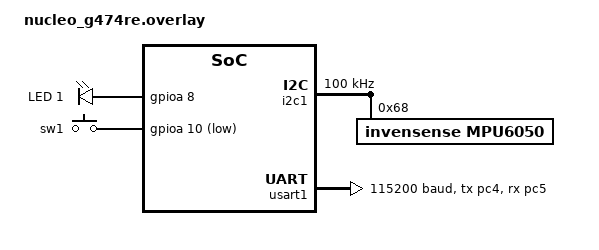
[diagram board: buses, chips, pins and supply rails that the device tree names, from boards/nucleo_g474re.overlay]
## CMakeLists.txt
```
cmake_minimum_required(VERSION 3.20.0)

set(BOARD nucleo_g474re)
#set(BOARD nucleo_g431rb)

# Nao sobrescrevemos CONF_FILE: o Zephyr usa prj.conf por padrao e mescla
# automaticamente boards/<BOARD>.conf (boards/nucleo_g474re.conf) por cima.

find_package(Zephyr REQUIRED HINTS $ENV{ZEPHYR_BASE})
project(se28cp_app)

target_sources(app PRIVATE src/zbus.c src/keyboard.c src/uart_cli.c src/telemetry.c src/main.c)
```

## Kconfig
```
source "Kconfig.zephyr"
config APP_WITH_STM32_HAL
  default y
  bool
  select USE_STM32_HAL_GPIO
  select USE_STM32_HAL_ADC
  select USE_STM32_HAL_ADC_EX
  select USE_STM32_HAL_DAC
  select USE_STM32_HAL_DAC_EX
  select USE_STM32_HAL_DMA
  select USE_STM32_HAL_DMA_EX
  select USE_STM32_HAL_CORTEX
  select USE_STM32_HAL_TIM
  select USE_STM32_HAL_TIM_EX
```

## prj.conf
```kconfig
CONFIG_ASSERT=n
CONFIG_GPIO=y
CONFIG_LED=y

# ---- Shell / Console local (lpuart1 = VCP do ST-Link) ----
CONFIG_SHELL=y
CONFIG_UART_CONSOLE=y

# ---- Comandos nativos do kernel (Requisito 2: info do sistema) ----
# Habilita "kernel threads" (tarefas + runtime), "kernel stacks", "kernel heap"
# (heap livre), "kernel uptime"/"version". O shell e nao-intrusivo (thread
# propria + fila de mensagens).
CONFIG_KERNEL_SHELL=y
CONFIG_THREAD_MONITOR=y
CONFIG_THREAD_NAME=y
CONFIG_INIT_STACKS=y
CONFIG_SYS_HEAP_RUNTIME_STATS=y

# Backend "dummy" do shell: usado pelo CLI que responde comandos vindos
# da ponte do ESP32 pela USART1 (ver src/uart_cli.c).
CONFIG_SHELL_BACKEND_DUMMY=y

# A USART1 (ponte) e lida em modo interrupt-driven / polling.
CONFIG_SERIAL=y
CONFIG_UART_INTERRUPT_DRIVEN=y

# Formatacao de float no snprintk() da telemetria (src/telemetry.c).
CONFIG_CBPRINTF_FP_SUPPORT=y

# ---- Sensor (MPU6050 via I2C) ----
CONFIG_SENSOR=y
CONFIG_MPU6050=y
CONFIG_I2C=y
CONFIG_I2C_STM32=y
# 'i2c scan I2C_1' ajuda a depurar a fiacao do sensor.
CONFIG_I2C_SHELL=y

# ---- Log ----
CONFIG_LOG=y
CONFIG_SENSOR_LOG_LEVEL_DBG=y

# ---- Zbus ----
CONFIG_ZBUS=y

# ---- DSP (FFT / filtro) ----
CONFIG_CMSIS_DSP=y
```

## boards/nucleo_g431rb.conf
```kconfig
# Misc
#CONFIG_HEAP_MEM_POOL_SIZE=16384
#CONFIG_SHELL_STACK_SIZE=8192

# Enable Shell
CONFIG_SHELL=y

# Setting the Shell prompt
CONFIG_SHELL_PROMPT_UART="se28cp$ "

# Setting the max argc
CONFIG_SHELL_ARGC_MAX=12

# Enable the Zephyr boot banner
CONFIG_BOOT_BANNER=y

CONFIG_THREAD_RUNTIME_STATS=y
CONFIG_THREAD_RUNTIME_STATS_USE_TIMING_FUNCTIONS=y

CONFIG_FPU=y
CONFIG_NEWLIB_LIBC=y
CONFIG_CMSIS_DSP=y
CONFIG_CMSIS_DSP_FLOAT16=n
CONFIG_CMSIS_DSP_TRANSFORM=y
CONFIG_CMSIS_DSP_COMPLEXMATH=y
CONFIG_CMSIS_DSP_FILTERING=y
# # Set CONFIG_NEWLIB_LIBC_FLOAT_PRINTF if  printf should be able to print float
CONFIG_NEWLIB_LIBC_FLOAT_PRINTF=y

CONFIG_MAIN_THREAD_PRIORITY=5
CONFIG_ZBUS=y
CONFIG_LOG=y
CONFIG_ZBUS_LOG_LEVEL_INF=y
CONFIG_ZBUS_CHANNEL_NAME=y
CONFIG_ZBUS_OBSERVER_NAME=y
CONFIG_ZBUS_RUNTIME_OBSERVERS=y
```

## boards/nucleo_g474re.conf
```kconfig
# Misc
CONFIG_HEAP_MEM_POOL_SIZE=16384
CONFIG_SHELL_STACK_SIZE=8192

# Enable Shell
CONFIG_SHELL=y

# Setting the Shell prompt
CONFIG_SHELL_PROMPT_UART="se28cp$ "

# Setting the max argc
CONFIG_SHELL_ARGC_MAX=12

# Enable the Zephyr boot banner
CONFIG_BOOT_BANNER=y

CONFIG_THREAD_RUNTIME_STATS=y
CONFIG_THREAD_RUNTIME_STATS_USE_TIMING_FUNCTIONS=y

CONFIG_FPU=y
# O SDK usa picolibc por padrao; para imprimir float em LOG/shell_print
# (que passam pelo cbprintf) o mecanismo correto e este:
CONFIG_CBPRINTF_FP_SUPPORT=y
#CONFIG_LOG_MODE_DEFERRED=y

CONFIG_CMSIS_DSP=y
CONFIG_CMSIS_DSP_FLOAT16=n
CONFIG_CMSIS_DSP_TRANSFORM=y
CONFIG_CMSIS_DSP_COMPLEXMATH=y
CONFIG_CMSIS_DSP_FILTERING=y

CONFIG_MAIN_THREAD_PRIORITY=5
CONFIG_ZBUS=y
CONFIG_LOG=y
CONFIG_ZBUS_LOG_LEVEL_INF=y
CONFIG_ZBUS_CHANNEL_NAME=y
CONFIG_ZBUS_OBSERVER_NAME=y
CONFIG_ZBUS_RUNTIME_OBSERVERS=y

# Configuracoes de rede/Wi-Fi e sensor ficam no prj.conf.
```

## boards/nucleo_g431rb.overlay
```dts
#include <zephyr/dt-bindings/gpio/gpio.h>

/ {
	aliases {
		led1 = &led1;
		sw0 = &sw0;
		sw1 = &sw1;
	};

	leds {
		compatible = "gpio-leds";
		led1: led_1 {
			gpios = <&gpioa 8 GPIO_ACTIVE_HIGH>;
			label = "LED 1";
		};
	};

	buttons {
		compatible = "gpio-keys";
		sw0: sw_0 {
			gpios = <&gpioc 13 (GPIO_PULL_UP | GPIO_ACTIVE_LOW)>;
			zephyr,code = <INPUT_KEY_0>;
		};
		sw1: sw_1 {
			gpios = <&gpioa 10 (GPIO_PULL_UP | GPIO_ACTIVE_LOW)>;
			zephyr,code = <INPUT_KEY_1>;
		};
	};
};
```

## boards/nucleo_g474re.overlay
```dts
#include <zephyr/dt-bindings/gpio/gpio.h>

/ {
	aliases {
		led1 = &led1;
		//sw0 = &sw0;
		sw1 = &sw1;
		sensor0 = &mpu6050;
	};

	leds {
		compatible = "gpio-leds";
		led1: led_1 {
			gpios = <&gpioa 8 GPIO_ACTIVE_HIGH>;
			label = "LED 1";
		};
	};

	buttons {
		compatible = "gpio-keys";
		debounce-interval-ms = <50>;
		/*
		sw0: sw_0 {
			gpios = <&gpioc 13 (GPIO_PULL_UP | GPIO_ACTIVE_LOW)>;
			zephyr,code = <INPUT_KEY_0>;
		};
		*/
		sw1: sw_1 {
			gpios = <&gpioa 10 (GPIO_PULL_UP | GPIO_ACTIVE_LOW)>;
			zephyr,code = <INPUT_KEY_1>;
		};
	};
};

&i2c1 {
    status = "okay";
    clock-frequency = <I2C_BITRATE_STANDARD>; /* Tente 100000 se 400000 falhar */
    
    mpu6050: mpu6050@68 {
        compatible = "invensense,mpu6050";
        reg = <0x68>;
        status = "okay";
    };
};

/*
 * O SPI1 vem ativo por padrao neste board e ROUBA dois pinos importantes:
 *   - PB6 (usado como CS do SPI1) -> conflitava com a USART1_TX
 *   - PA5 (SCK do SPI1)           -> e o mesmo pino do LED verde (led0)
 * Como o projeto nao usa SPI1, desativamos para liberar esses pinos.
 */
&spi1 {
    status = "disabled";
};

/*
 * USART1 = canal de dados para a PONTE do ESP32 (Wi-Fi <-> UART).
 *
 * Usamos PC4/PC5, que sao exatamente os pinos "TX/D1" e "RX/D0" do header
 * Arduino (rotulados na placa, lado a lado) e a segunda opcao da USART1.
 * Evita o PB6 (CS do SPI1), o PA2/PA3 (console lpuart1) e o PA10 (botao).
 *
 * Ligacao fisica (crossover, ambos 3V3):
 *   STM32 D1 = PC4 (USART1_TX) --> ESP32 GPIO16 (RX2)
 *   STM32 D0 = PC5 (USART1_RX) <-- ESP32 GPIO17 (TX2)
 *   GND <-> GND comum entre as placas.
 */
&usart1 {
    status = "okay";
    current-speed = <115200>;  /* RX por interrupcao (uart_cli.c) aguenta 115200 */
    pinctrl-0 = <&usart1_tx_pc4 &usart1_rx_pc5>;
    pinctrl-names = "default";
};
```

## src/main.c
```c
/*
 * Copyright (c) 2017 Linaro Limited
 *
 * SPDX-License-Identifier: Apache-2.0
 */

#include <zephyr/kernel.h>
#include <zephyr/device.h>
#include <zephyr/drivers/gpio.h>
#include <zephyr/sys/printk.h>
#include <zephyr/sys/__assert.h>
#include <zephyr/logging/log.h>

LOG_MODULE_REGISTER(main, LOG_LEVEL_INF);

/* size of stack area used by each thread */
#define STACKSIZE 1024

/* scheduling priority used by each thread */
#define PRIORITY 7

#define LED0_NODE DT_ALIAS(led0)
#define LED1_NODE DT_ALIAS(led1)

#if !DT_NODE_HAS_STATUS(LED0_NODE, okay)
#error "Unsupported board: led0 devicetree alias is not defined"
#endif

#if !DT_NODE_HAS_STATUS(LED1_NODE, okay)
#error "Unsupported board: led1 devicetree alias is not defined"
#endif

struct led {
	struct gpio_dt_spec spec;
	uint8_t num;
};

static const struct led led0 = {
	.spec = GPIO_DT_SPEC_GET_OR(LED0_NODE, gpios, {0}),
	.num = 0,
};

/* --------------------------------------------------------------------- */
/* Thread do LED (Requisito 3): pisca usando o timer do kernel.          */
/* --------------------------------------------------------------------- */
void blink(const struct led *led, uint32_t sleep_ms, uint32_t id)
{
	const struct gpio_dt_spec *spec = &led->spec;
	int ret;
	int cnt = 0;

	ARG_UNUSED(id);

	if (!device_is_ready(spec->port)) {
		printk("Error: %s device is not ready\n", spec->port->name);
		return;
	}

	ret = gpio_pin_configure_dt(spec, GPIO_OUTPUT);
	if (ret != 0) {
		printk("Error %d: failed to configure pin %d (LED '%d')\n",
		       ret, spec->pin, led->num);
		return;
	}

	while (1) {
		gpio_pin_set(spec->port, spec->pin, cnt % 2);
		cnt++;
		k_msleep(sleep_ms);
	}
}

void blink0(void)
{
	blink(&led0, 200, 0);
}
K_THREAD_DEFINE(blink0_id, STACKSIZE, blink0, NULL, NULL, NULL, PRIORITY, 0, 0);

int main(void)
{
	/*
	 * A conectividade Wi-Fi fica a cargo do ESP32 (ponte UDP<->UART).
	 * O STM32 apenas expoe o shell:
	 *   - localmente pela console (lpuart1 / VCP do ST-Link);
	 *   - externamente via USART1, atendida pela thread em src/uart_cli.c.
	 */
	LOG_INF("Sistema pronto. Shell disponivel na console e via ponte ESP (USART1).");
	return 0;
}
```

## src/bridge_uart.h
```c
/*
 * Escrita serializada na USART1 (a "ponte" para o ESP32).
 *
 * A USART1 e usada por DOIS produtores concorrentes:
 *   - src/uart_cli.c   : respostas do CLI de shell (sob demanda);
 *   - src/telemetry.c  : telemetria periodica (linhas "@V,...").
 *
 * Se os dois escreverem ao mesmo tempo com uart_poll_out(), os bytes se
 * intercalam e corrompem tanto a resposta quanto a telemetria. Esta funcao
 * serializa a escrita com um mutex, garantindo linhas inteiras e atomicas.
 */

#ifndef BRIDGE_UART_H
#define BRIDGE_UART_H

#include <stddef.h>

/* Escreve 'len' bytes na USART1 de forma atomica (thread-safe). */
void bridge_uart_write(const char *s, size_t len);

#endif /* BRIDGE_UART_H */
```

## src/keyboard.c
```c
/*
 * Copyright (c) 2017 Linaro Limited
 *
 * SPDX-License-Identifier: Apache-2.0
 */

#include <zephyr/kernel.h>
#include <zephyr/device.h>
#include <zephyr/drivers/gpio.h>
#include <zephyr/sys/printk.h>
#include <zephyr/sys/__assert.h>

#include <string.h>

/* Historico de anomalias vive no zbus.c; o botao apenas o reseta. */
extern void anomaly_reset(void);

/* size of stack area used by each thread */
#define STACKSIZE 1024

/* scheduling priority used by each thread */
#define PRIORITY 7

/*
 * Botoes: sw0 = user button da placa (PC13, gpioc),
 *         sw1 = botao externo definido no overlay (PA10, gpioa).
 */
#define SW0_NODE	DT_ALIAS(sw0)
#define SW1_NODE	DT_ALIAS(sw1)
#if !DT_NODE_HAS_STATUS(SW0_NODE, okay)
#error "Unsupported board: sw0 devicetree alias is not defined"
#endif

static const struct gpio_dt_spec button0 = GPIO_DT_SPEC_GET_OR(SW0_NODE, gpios, {0});
static const struct gpio_dt_spec button1 = GPIO_DT_SPEC_GET_OR(SW1_NODE, gpios, {0});

K_SEM_DEFINE(counter_sem, 0, 1);

static void debounce_expired(struct k_work *work)
{
	ARG_UNUSED(work);

	int val0 = gpio_pin_get_dt(&button0);
	int val1 = gpio_pin_get_dt(&button1);

	if (val0) {
		printk("SW0 pressed\n");
	}
	if (val1) {
		printk("SW1 pressed\n");
	}

	/* Qualquer botao reseta o historico de anomalias (requisito do botao). */
	if (val0 || val1) {
		anomaly_reset();
	}

	k_sem_give(&counter_sem);
}

static K_WORK_DELAYABLE_DEFINE(debounce_work, debounce_expired);

void button_cb(const struct device *gpiodev, struct gpio_callback *cb, uint32_t pin)
{
	ARG_UNUSED(gpiodev);
	ARG_UNUSED(cb);
	ARG_UNUSED(pin);

	k_work_schedule(&debounce_work, K_MSEC(50));
}

/*
 * button0 e button1 estao em portas GPIO diferentes (gpioc e gpioa), entao
 * cada um precisa da SUA propria struct gpio_callback. Reusar a mesma struct
 * em duas portas corrompe a lista de callbacks.
 */
static struct gpio_callback button0_cb_data;
static struct gpio_callback button1_cb_data;

static int configure_button(const struct gpio_dt_spec *btn, struct gpio_callback *cb)
{
	int ret;

	if (!gpio_is_ready_dt(btn)) {
		printk("Error: button device %s is not ready\n", btn->port->name);
		return -ENODEV;
	}

	ret = gpio_pin_configure_dt(btn, GPIO_INPUT);
	if (ret != 0) {
		printk("Error %d: failed to configure %s pin %d\n",
		       ret, btn->port->name, btn->pin);
		return ret;
	}

	gpio_init_callback(cb, button_cb, BIT(btn->pin));
	gpio_add_callback(btn->port, cb);

	ret = gpio_pin_interrupt_configure_dt(btn, GPIO_INT_EDGE_FALLING);
	if (ret != 0) {
		printk("Error %d: failed to configure interrupt on %s pin %d\n",
		       ret, btn->port->name, btn->pin);
		return ret;
	}

	return 0;
}

int keyboard_thread(void)
{
	if (configure_button(&button0, &button0_cb_data) != 0) {
		return 0;
	}
	if (configure_button(&button1, &button1_cb_data) != 0) {
		return 0;
	}

	printk("Waiting button being pressed\n");
	while (1) {
		k_sem_take(&counter_sem, K_FOREVER);
		printk("Button pressed at %" PRIu32 "\n", k_cycle_get_32());
	}
}

K_THREAD_DEFINE(keyboard_id, STACKSIZE, keyboard_thread, NULL, NULL, NULL, PRIORITY, 0, 0);
```

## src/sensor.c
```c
/*
 * Copyright (c) 2017 Linaro Limited
 *
 * SPDX-License-Identifier: Apache-2.0
 */

#include <zephyr/kernel.h>
#include <zephyr/device.h>
#include <zephyr/drivers/gpio.h>
#include <zephyr/sys/printk.h>
#include <zephyr/sys/__assert.h>

#include <string.h>

#define ZEPHYR_USER_NODE DT_PATH(zephyr_user)

/* size of stack area used by each thread */
#define STACKSIZE 1024

/* scheduling priority used by each thread */
#define PRIORITY 7


/*
 * Get button configuration from the devicetree sw0 alias. This is mandatory.
 */
#define SENSOR0_NODE	DT_ALIAS(sensor0)

#if !DT_NODE_HAS_STATUS(SENSOR0_NODE, okay)
#error "Unsupported board: sensor0 devicetree alias is not defined"
#endif

static const struct gpio_dt_spec sensor0 = GPIO_DT_SPEC_GET_OR(SENSOR0_NODE, gpios, {0});

K_SEM_DEFINE(sensor_sem, 0, 1);


void sensor_cb(const struct device *gpiodev, struct gpio_callback *cb, uint32_t pin)
{
    
}

static struct gpio_callback button_cb_data;

int sensor_thread(void)
{
	int ret;

	if (!gpio_is_ready_dt(&sensor0)) {
		printk("Error: button device %s is not ready\n",
		       sensor0.port->name);
		return 0;
	}
    

	ret = gpio_pin_configure_dt(&sensor0, GPIO_INPUT);
	if (ret != 0) {
		printk("Error %d: failed to configure %s pin %d\n",
		       ret, sensor0.port->name, sensor0.pin);
		return 0;
	}

	/* Callback uses pin_mask, so need bit shifting */
	gpio_init_callback(&button_cb_data, sensor_cb, BIT(sensor0.pin));
	gpio_add_callback(sensor0.port, &button_cb_data);

	/* Setup input pin for interrupt */
	ret = gpio_pin_interrupt_configure_dt(&sensor0, GPIO_INT_EDGE_BOTH);
	if (ret != 0) {
		printk("Error %d: failed to configure interrupt on %s pin %d\n",
			ret, sensor0.port->name, sensor0.pin);
		return 0;
	}

	printk("Waiting button being pressed\n");
	while(1){
		k_sem_take(&sensor_sem, K_FOREVER);
		printk("Button pressed at %" PRIu32 "\n", k_cycle_get_32());
	}
}

//K_THREAD_DEFINE(sensor_id, STACKSIZE, sensor_thread, NULL, NULL, NULL,PRIORITY, 0, 0);
```

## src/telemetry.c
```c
/*
 * Telemetria periodica STM32 -> ESP32 -> WebApp (VibraMonitor).
 *
 *   fft_task (Hard RT) --publica--> Zbus (fft_data_chan)
 *                                      |
 *                       telemetry_task (ESTA tarefa, baixa prioridade)
 *                                      | le o ultimo espectro e serializa
 *                                      v
 *   USART1 "@V,<dc>,<h1>,<h2>,<h3>,<h4>,<anomalias>\n"  --> ESP32 --HTTP POST--> API
 *
 * Por que uma tarefa separada e de BAIXA prioridade (numero alto = menos
 * prioritaria no Zephyr):
 *   - Nao pode competir com a fft_task/send_result_task (prio 3, Hard/Soft RT)
 *     nem atrasar a amostragem do sensor. Roda so quando o resto esta ocioso.
 *   - A serializacao e a escrita na UART sao lentas (I/O) e nao devem ficar
 *     no caminho critico do DSP.
 *
 * Periodicidade: 1000 ms. Justificativa:
 *   - O dashboard e um monitor de tendencia; 1 Hz e suficiente e casa com a
 *     taxa do simulador que o webapp ja usava (Simulator:IntervalMs=1000).
 *   - Mantem o trafego Wi-Fi/HTTP baixo e a carga da UART irrisoria.
 *   - A deteccao de anomalia continua sendo Hard/Soft RT no proprio STM
 *     (nao depende desta taxa); aqui so reportamos o estado.
 *
 * A linha comeca com a sentinela "@V," para o ESP distinguir telemetria das
 * respostas do CLI de shell, que compartilham a mesma USART1.
 */

#include <zephyr/kernel.h>
#include <zephyr/zbus/zbus.h>
#include <zephyr/sys/atomic.h>
#include <zephyr/sys/printk.h>
#include <zephyr/logging/log.h>

#include "vibration.h"
#include "bridge_uart.h"

LOG_MODULE_REGISTER(telemetry, LOG_LEVEL_INF);

#define TELEMETRY_PERIOD_MS 1000
#define TELEMETRY_STACK     1024
/* Prioridade alta em numero => baixa prioridade de escalonamento (abaixo do
 * shell/CLI que e 6, e bem abaixo do Hard/Soft RT que e 3). */
#define TELEMETRY_PRIO      10
#define TELEMETRY_LINE_SZ   96

static void telemetry_task(void)
{
	struct fft_msg fft;
	char line[TELEMETRY_LINE_SZ];

	/* Da um tempo para sensor/DSP subirem e publicarem o primeiro espectro. */
	k_msleep(2000);

	LOG_INF("Telemetria STM->ESP ativa (%d ms, sentinela \"@V,\")",
		TELEMETRY_PERIOD_MS);

	while (1) {
		k_msleep(TELEMETRY_PERIOD_MS);

		/* Le o ultimo espectro publicado. Se ainda nao ha dado, pula o ciclo. */
		if (zbus_chan_read(&fft_data_chan, &fft, K_MSEC(100)) != 0) {
			LOG_WRN("Sem espectro no Zbus ainda; ciclo pulado");
			continue;
		}

		long anom = (long)atomic_get(&anomaly_count);

		/* snprintk (do Zephyr) garante suporte a float independente da libc. */
		int n = snprintk(line, sizeof(line),
				 "@V,%.3f,%.3f,%.3f,%.3f,%.3f,%ld\n",
				 (double)fft.harmonic_cc, (double)fft.harmonic_1st,
				 (double)fft.harmonic_2nd, (double)fft.harmonic_3rd,
				 (double)fft.harmonic_4th, anom);

		if (n <= 0) {
			continue;
		}
		if (n >= (int)sizeof(line)) {
			n = (int)sizeof(line) - 1; /* truncou: envia o que coube */
		}

		bridge_uart_write(line, (size_t)n);
	}
}

K_THREAD_DEFINE(telemetry_id, TELEMETRY_STACK, telemetry_task,
		NULL, NULL, NULL, TELEMETRY_PRIO, 0, 0);
```

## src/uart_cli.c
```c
/*
 * CLI externo via ponte do ESP32.
 *
 *   PC --UDP:5000--> ESP32 (Wi-Fi) --Serial2--> STM32 (USART1) --> este modulo
 *   PC <--UDP------- ESP32          <--Serial2-- STM32 (USART1) <-- resposta
 *
 * Cada linha recebida na USART1 e um comando de shell: executamos via
 * shell_execute_cmd() no backend "dummy" (que captura a saida) e escrevemos
 * essa saida de volta na USART1.
 *
 * A RX e feita por INTERRUPCAO + ring buffer. O registrador RX do STM32 guarda
 * so 1 byte, entao ler por polling com sleep perde bytes; a ISR esvazia o FIFO
 * a cada byte e enfileira. Quando enfileira, sinaliza um semaforo; a thread
 * fica BLOQUEADA nele (k_sem_take K_FOREVER) e so acorda quando ha dado -
 * sem espera ativa / polling.
 *
 * Requer: CONFIG_SHELL_BACKEND_DUMMY=y e CONFIG_UART_INTERRUPT_DRIVEN=y
 */

#include <zephyr/kernel.h>
#include <zephyr/device.h>
#include <zephyr/drivers/uart.h>
#include <zephyr/sys/ring_buffer.h>
#include <zephyr/logging/log.h>
#include <zephyr/shell/shell.h>
#include <zephyr/shell/shell_dummy.h>

#include <string.h>

#include "bridge_uart.h"

LOG_MODULE_REGISTER(uart_cli, LOG_LEVEL_INF);

/* UART fisica da ponte (definida no overlay: usart1 em PC4/PC5). */
#define CLI_UART_NODE DT_NODELABEL(usart1)
static const struct device *const cli_uart = DEVICE_DT_GET(CLI_UART_NODE);

#define LINE_BUF_SZ      160
#define RING_BUF_SZ      256
#define UART_CLI_STACK   2048
#define UART_CLI_PRIO    6

RING_BUF_DECLARE(rx_rb, RING_BUF_SZ);

/* Serializa a TX da USART1 entre o CLI (respostas) e a telemetria periodica. */
K_MUTEX_DEFINE(tx_mutex);

/*
 * Sinaliza "ha bytes novos no ring buffer" da ISR para a thread. Binario
 * (max 1): a thread esvazia todo o ring buffer a cada acorda, entao basta um
 * unico aviso. Substitui o antigo polling com k_msleep().
 */
K_SEM_DEFINE(rx_sem, 0, 1);

/* ISR: esvazia o FIFO de RX e joga os bytes no ring buffer. */
static void uart_isr(const struct device *dev, void *user_data)
{
	ARG_UNUSED(user_data);

	uart_irq_update(dev);

	while (uart_irq_rx_ready(dev)) {
		uint8_t buf[32];
		int n = uart_fifo_read(dev, buf, sizeof(buf));

		if (n <= 0) {
			break;
		}
		ring_buf_put(&rx_rb, buf, n);
		k_sem_give(&rx_sem); /* acorda a thread (ISR-safe) */
	}
}

/* Escrita atomica na USART1 (thread-safe): ver bridge_uart.h. */
void bridge_uart_write(const char *s, size_t len)
{
	k_mutex_lock(&tx_mutex, K_FOREVER);
	for (size_t i = 0; i < len; i++) {
		uart_poll_out(cli_uart, (unsigned char)s[i]);
	}
	k_mutex_unlock(&tx_mutex);
}

static void uart_cli_thread(void)
{
	const struct shell *dummy = shell_backend_dummy_get_ptr();
	char line[LINE_BUF_SZ];
	int pos = 0;

	if (!device_is_ready(cli_uart)) {
		LOG_ERR("UART da ponte (%s) nao esta pronta", cli_uart->name);
		return;
	}
	if (dummy == NULL) {
		LOG_ERR("Backend dummy do shell indisponivel");
		return;
	}

	uart_irq_callback_user_data_set(cli_uart, uart_isr, NULL);
	uart_irq_rx_enable(cli_uart);

	LOG_INF("CLI por UART (ponte ESP32) pronto em %s", cli_uart->name);

	while (1) {
		uint8_t c;

		if (ring_buf_get(&rx_rb, &c, 1) == 0) {
			/* Buffer vazio: bloqueia ate a ISR sinalizar (sem polling). */
			k_sem_take(&rx_sem, K_FOREVER);
			continue;
		}

		if (c == '\r') {
			continue; /* ignora CR; fim de linha e o '\n' */
		}

		if (c != '\n') {
			if (pos < (int)sizeof(line) - 1) {
				line[pos++] = (char)c;
			} else {
				LOG_WRN("RX ponte (USART1): linha longa demais - descartando");
				pos = 0;
			}
			continue;
		}

		/* Linha completa: executa como comando de shell. */
		line[pos] = '\0';

		if (pos > 0) {
			LOG_INF("RX ponte (USART1): '%s' (%d bytes)", line, pos);

			shell_backend_dummy_clear_output(dummy);
			shell_execute_cmd(dummy, line);

			size_t out_len = 0;
			const char *out = shell_backend_dummy_get_output(dummy, &out_len);

			if (out != NULL && out_len > 0) {
				bridge_uart_write(out, out_len);
			} else {
				static const char empty[] = "(sem saida)\n";

				bridge_uart_write(empty, strlen(empty));
			}
		}

		pos = 0;
	}
}

K_THREAD_DEFINE(uart_cli_id, UART_CLI_STACK, uart_cli_thread,
		NULL, NULL, NULL, UART_CLI_PRIO, 0, 0);
```

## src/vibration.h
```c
/*
 * Contrato compartilhado do monitor de vibracao.
 *
 * Reune o que precisa ser visto por mais de um modulo:
 *   - struct fft_msg    : mensagem publicada no canal Zbus (harmonicas da FFT);
 *   - fft_data_chan     : o canal Zbus (definido em zbus.c);
 *   - anomaly_count     : historico de anomalias (definido em zbus.c);
 *   - anomaly_reset()   : zera o historico (usado pelo botao).
 *
 * Assim a tarefa de telemetria (src/telemetry.c) le os mesmos dados que o
 * shell, sem duplicar a definicao da struct.
 */

#ifndef VIBRATION_H
#define VIBRATION_H

#include <zephyr/zbus/zbus.h>
#include <zephyr/sys/atomic.h>

/* Harmonicas da FFT do eixo X (magnitudes). */
struct fft_msg {
	float harmonic_cc;   /* componente DC */
	float harmonic_1st;
	float harmonic_2nd;
	float harmonic_3rd;
	float harmonic_4th;
};

ZBUS_CHAN_DECLARE(fft_data_chan);

/* Historico de anomalias (Soft RT). Definido em zbus.c. */
extern atomic_t anomaly_count;

/* Zera o historico de anomalias. */
void anomaly_reset(void);

#endif /* VIBRATION_H */
```

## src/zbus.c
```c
/*
 * Processamento de vibracao (Hard RT) + distribuicao via Zbus + comandos de shell.
 *
 * Fluxo:
 *   fft_task (prio alta / Hard RT):
 *     coleta janela do acelerometro MPU6050 -> remove offset (DC) ->
 *     filtro IIR (biquad) -> FFT (CMSIS-DSP) -> publica harmonicas no Zbus.
 *   send_result_task (Soft RT):
 *     assina o canal e gera alerta quando a 1a harmonica passa do limite,
 *     acumulando o historico de anomalias (resetavel pelo botao).
 */

#include <zephyr/kernel.h>
#include <zephyr/zbus/zbus.h>
#include <zephyr/shell/shell.h>
#include <zephyr/drivers/sensor.h>
#include <zephyr/logging/log.h>
#include <zephyr/sys/atomic.h>

#include <arm_math.h>
#include <arm_const_structs.h>
#include <math.h>
#include <string.h>

#include "vibration.h"

LOG_MODULE_DECLARE(zbus, CONFIG_ZBUS_LOG_LEVEL);

#define FFT_SIZE       256
#define LIMITE_CRITICO 100.0f

/* --------------------------------------------------------------------- */
/* Canal Zbus (a struct fft_msg vive em vibration.h, compartilhada)      */
/* --------------------------------------------------------------------- */
ZBUS_CHAN_DEFINE(fft_data_chan,
		 struct fft_msg,
		 NULL,
		 NULL,
		 ZBUS_OBSERVERS(callback_listener, task_sub),
		 ZBUS_MSG_INIT(.harmonic_cc = 0.0f, .harmonic_1st = 0.0f,
			       .harmonic_2nd = 0.0f, .harmonic_3rd = 0.0f,
			       .harmonic_4th = 0.0f));

atomic_t anomaly_count = ATOMIC_INIT(0);

void anomaly_reset(void)
{
	atomic_set(&anomaly_count, 0);
	LOG_INF("Historico de anomalias resetado");
}

/* --------------------------------------------------------------------- */
/* Observadores do canal                                                 */
/* --------------------------------------------------------------------- */
/* Log periodico do monitor (heartbeat do Hard RT). Ligavel via "log_fft on|off". */
static bool log_fft_enabled = true;
static int cnt_listener;

static void listener_callback_example(const struct zbus_channel *chan)
{
	const struct fft_msg *fft = zbus_chan_const_msg(chan);

	if (!log_fft_enabled) {
		return;
	}

	if (++cnt_listener > 10) {
		cnt_listener = 0;
		LOG_INF("monitor: 1a=%.2f 2a=%.2f 3a=%.2f 4a=%.2f (limite %.0f)",
			(double)fft->harmonic_1st, (double)fft->harmonic_2nd,
			(double)fft->harmonic_3rd, (double)fft->harmonic_4th,
			(double)LIMITE_CRITICO);
	}
}
ZBUS_LISTENER_DEFINE(callback_listener, listener_callback_example);

ZBUS_SUBSCRIBER_DEFINE(task_sub, 4);

/*
 * Tarefa Soft RT: reage aos dados e mantem o historico de anomalias.
 * Prioridade 4 = ABAIXO da fft_task (Hard RT, prio 3), deixando a hierarquia
 * hard > soft explicita. Ela bloqueia em zbus_sub_wait, entao mesmo com prio
 * menor nao perde publicacoes (a fila do subscriber tem profundidade 4).
 */
static void send_result_task(void)
{
	const struct zbus_channel *chan;

	while (!zbus_sub_wait(&task_sub, &chan, K_FOREVER)) {
		struct fft_msg fft;

		if (zbus_chan_read(&fft_data_chan, &fft, K_MSEC(100)) != 0) {
			continue;
		}

		if (fft.harmonic_1st > LIMITE_CRITICO) {
			atomic_val_t n = atomic_inc(&anomaly_count) + 1;

			LOG_WRN("ALERTA! 1a harmonica %.2f > limite (anomalia #%ld)",
				(double)fft.harmonic_1st, (long)n);
		}
	}
}
K_THREAD_DEFINE(send_result_task_id, CONFIG_MAIN_STACK_SIZE,
		send_result_task, NULL, NULL, NULL, 4, 0, 0);

/* --------------------------------------------------------------------- */
/* Filtro IIR (biquad, CMSIS-DSP) aplicado antes da FFT                  */
/* --------------------------------------------------------------------- */
#define IIR_ORDER     4
#define IIR_NUMSTAGES (IIR_ORDER / 2)

static float32_t m_biquad_state[IIR_ORDER];
static float32_t m_biquad_coeffs[5 * IIR_NUMSTAGES] = {
	1.0947e-07, 2.1895e-07, 1.0947e-07, 1.9329e+00, -9.3423e-01,
	1.0000e+00, 2.0000e+00, 1.0000e+00, 1.9709e+00, -9.7222e-01,
};

static const arm_biquad_cascade_df2T_instance_f32 iir_inst = {
	IIR_NUMSTAGES,
	m_biquad_state,
	m_biquad_coeffs,
};

/* --------------------------------------------------------------------- */
/* Tarefa Hard RT: amostragem + DSP                                      */
/* --------------------------------------------------------------------- */
static float filter_in[FFT_SIZE];
static float filter_out[FFT_SIZE];
static float ReIm[FFT_SIZE * 2];
static float mod[FFT_SIZE];

static void fft_task(void)
{
	struct fft_msg fft;
	const struct device *const dev = DEVICE_DT_GET(DT_NODELABEL(mpu6050));

	/*
	 * No cold-boot o MPU6050 as vezes nao responde ao I2C a tempo (power-up),
	 * e o init do driver falha ("Failed to read chip ID"). Em vez de desistir,
	 * tentamos reinicializar algumas vezes ate o sensor estabilizar.
	 */
	for (int i = 0; !device_is_ready(dev) && i < 20; i++) {
		LOG_WRN("MPU6050 nao pronto; reinicializando (%d/20)...", i + 1);
		k_msleep(200);
		(void)device_init(dev);
	}

	if (!device_is_ready(dev)) {
		LOG_ERR("Sensor MPU6050 falhou definitivamente!");
		return;
	}
	LOG_INF("MPU6050 pronto");

	while (1) {
		/* 1. Coleta a janela do eixo X, acumulando a media (offset DC). */
		float sum = 0.0f;

		for (int i = 0; i < FFT_SIZE; i++) {
			struct sensor_value accel_x;

			sensor_sample_fetch(dev);
			sensor_channel_get(dev, SENSOR_CHAN_ACCEL_X, &accel_x);

			float val = (float)sensor_value_to_double(&accel_x);

			filter_in[i] = val;
			sum += val;

			k_usleep(1000); /* ~1 kHz de amostragem */
		}

		/* 2. Remove o offset (gravidade / componente DC). */
		float mean = sum / (float)FFT_SIZE;

		for (int i = 0; i < FFT_SIZE; i++) {
			filter_in[i] -= mean;
		}

		/* 3. Filtro IIR sobre o sinal (Hard RT: processamento do sinal). */
		arm_biquad_cascade_df2T_f32(&iir_inst, filter_in, filter_out, FFT_SIZE);

		/* 4. Monta o vetor complexo intercalado (Re, Im) e roda a FFT. */
		for (int i = 0; i < FFT_SIZE; i++) {
			ReIm[i * 2] = filter_out[i];
			ReIm[i * 2 + 1] = 0.0f;
		}

		arm_cfft_f32(&arm_cfft_sR_f32_len256, ReIm, 0, 1);
		arm_cmplx_mag_f32(ReIm, mod, FFT_SIZE);

		/* 5. Publica as primeiras harmonicas no Zbus. */
		fft.harmonic_cc = mod[0] / 2.0f;
		fft.harmonic_1st = mod[1];
		fft.harmonic_2nd = mod[2];
		fft.harmonic_3rd = mod[3];
		fft.harmonic_4th = mod[4];

		zbus_chan_pub(&fft_data_chan, &fft, K_NO_WAIT);
	}
}
/* Prioridade alta (3) para caracterizar a tarefa como Hard RT. */
K_THREAD_DEFINE(fft_calculation_task_id, CONFIG_MAIN_STACK_SIZE,
		fft_task, NULL, NULL, NULL, 3, 0, 0);

/* --------------------------------------------------------------------- */
/* Comandos de shell (console local e CLI UDP compartilham estes)        */
/* --------------------------------------------------------------------- */
static int cmd_show_raw(const struct shell *shell, size_t argc, char **argv)
{
	const struct device *const dev = DEVICE_DT_GET(DT_NODELABEL(mpu6050));
	struct sensor_value accel[3];

	ARG_UNUSED(argc);
	ARG_UNUSED(argv);

	if (sensor_sample_fetch(dev) != 0) {
		shell_error(shell, "Falha ao ler o MPU6050 (I2C).");
		return -EIO;
	}
	sensor_channel_get(dev, SENSOR_CHAN_ACCEL_X, &accel[0]);
	sensor_channel_get(dev, SENSOR_CHAN_ACCEL_Y, &accel[1]);
	sensor_channel_get(dev, SENSOR_CHAN_ACCEL_Z, &accel[2]);

	double x = sensor_value_to_double(&accel[0]);
	double y = sensor_value_to_double(&accel[1]);
	double z = sensor_value_to_double(&accel[2]);
	double mag = sqrt(x * x + y * y + z * z);

	shell_print(shell, "--- Aceleracao instantanea (MPU6050) ---");
	shell_print(shell, "  X   = %8.3f m/s2", x);
	shell_print(shell, "  Y   = %8.3f m/s2", y);
	shell_print(shell, "  Z   = %8.3f m/s2", z);
	shell_print(shell, "  |a| = %8.3f m/s2  (modulo do vetor)", mag);
	return 0;
}
SHELL_CMD_REGISTER(show_raw, NULL, "Aceleracao X/Y/Z + modulo (m/s2)", cmd_show_raw);

static int cmd_show_fft(const struct shell *shell, size_t argc, char **argv)
{
	struct fft_msg fft;

	ARG_UNUSED(argc);
	ARG_UNUSED(argv);

	if (zbus_chan_read(&fft_data_chan, &fft, K_MSEC(100)) != 0) {
		shell_error(shell, "Erro ao ler o canal Zbus!");
		return -EIO;
	}

	shell_print(shell, "--- Espectro de vibracao (FFT, eixo X) ---");
	shell_print(shell, "  Componente | Magnitude");
	shell_print(shell, "  DC         | %8.3f", (double)fft.harmonic_cc);
	shell_print(shell, "  1a harm.   | %8.3f", (double)fft.harmonic_1st);
	shell_print(shell, "  2a harm.   | %8.3f", (double)fft.harmonic_2nd);
	shell_print(shell, "  3a harm.   | %8.3f", (double)fft.harmonic_3rd);
	shell_print(shell, "  4a harm.   | %8.3f", (double)fft.harmonic_4th);
	shell_print(shell, "  Limite de anomalia (1a harm.): %.1f  ->  %s",
		    (double)LIMITE_CRITICO,
		    fft.harmonic_1st > LIMITE_CRITICO ? "ANOMALIA!" : "ok");
	return 0;
}
SHELL_CMD_REGISTER(show_fft, NULL, "Espectro de vibracao (harmonicas da FFT)", cmd_show_fft);

static int cmd_show_anomalies(const struct shell *shell, size_t argc, char **argv)
{
	ARG_UNUSED(argc);
	ARG_UNUSED(argv);

	shell_print(shell, "Anomalias acumuladas: %ld",
		    (long)atomic_get(&anomaly_count));
	return 0;
}
SHELL_CMD_REGISTER(show_anomalies, NULL, "Mostra o total de anomalias detectadas",
		   cmd_show_anomalies);

static int cmd_rt_status(const struct shell *shell, size_t argc, char **argv)
{
	struct fft_msg fft;

	ARG_UNUSED(argc);
	ARG_UNUSED(argv);

	shell_print(shell, "=== Tarefas de Tempo Real ===");
	shell_print(shell, "Hard RT: fft_task (prio 3) - amostra MPU6050 ~1kHz, FFT %d pts",
		    FFT_SIZE);
	shell_print(shell, "Soft RT: send_result_task (prio 4) - alerta/anomalias");
	shell_print(shell, "Limite critico (1a harmonica): %.1f", (double)LIMITE_CRITICO);
	shell_print(shell, "Anomalias acumuladas: %ld", (long)atomic_get(&anomaly_count));

	if (zbus_chan_read(&fft_data_chan, &fft, K_MSEC(100)) == 0) {
		shell_print(shell, "Ultima 1a harmonica: %.3f", (double)fft.harmonic_1st);
	}
	return 0;
}
SHELL_CMD_REGISTER(rt_status, NULL, "Info das tarefas de tempo real", cmd_rt_status);

static int cmd_log_fft(const struct shell *shell, size_t argc, char **argv)
{
	if (argc == 2 && strcmp(argv[1], "on") == 0) {
		log_fft_enabled = true;
		shell_print(shell, "Log periodico do monitor: LIGADO");
	} else if (argc == 2 && strcmp(argv[1], "off") == 0) {
		log_fft_enabled = false;
		shell_print(shell, "Log periodico do monitor: DESLIGADO");
	} else {
		shell_print(shell, "Uso: log_fft on|off   (atual: %s)",
			    log_fft_enabled ? "on" : "off");
	}
	return 0;
}
SHELL_CMD_REGISTER(log_fft, NULL, "Liga/desliga o log periodico do monitor", cmd_log_fft);

static int cmd_reset_anomalies(const struct shell *shell, size_t argc, char **argv)
{
	ARG_UNUSED(argc);
	ARG_UNUSED(argv);

	anomaly_reset();
	shell_print(shell, "Historico de anomalias zerado");
	return 0;
}
SHELL_CMD_REGISTER(reset_anomalies, NULL, "Zera o historico de anomalias",
		   cmd_reset_anomalies);
```
